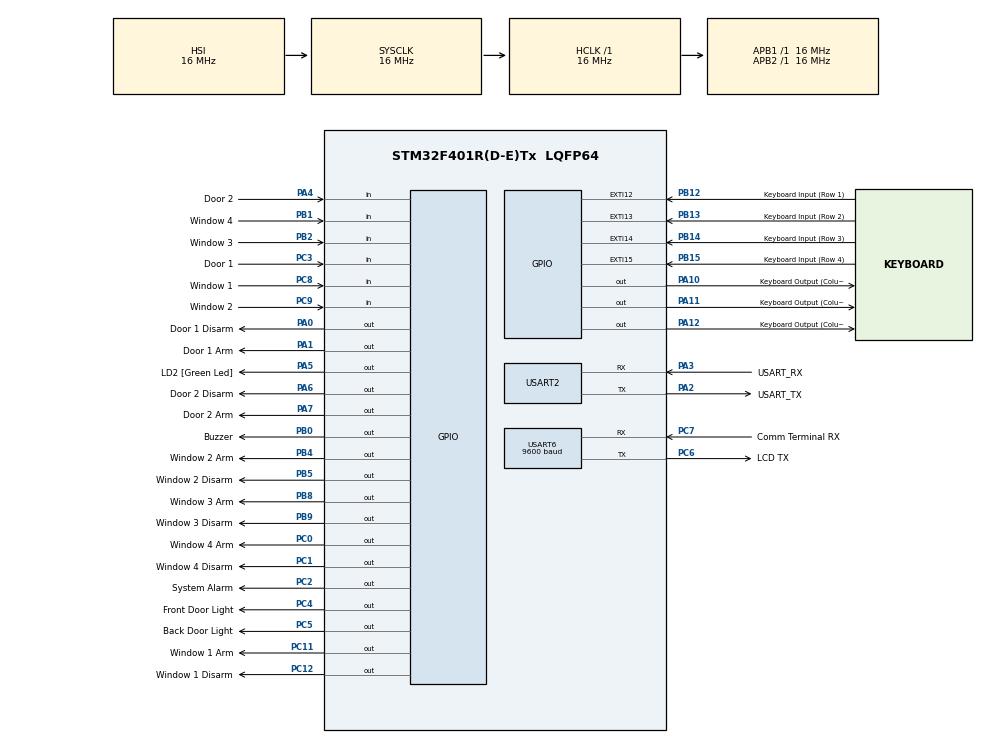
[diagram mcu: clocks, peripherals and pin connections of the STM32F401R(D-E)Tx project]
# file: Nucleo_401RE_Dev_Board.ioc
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Mcu.Family=STM32F4
Mcu.Name=STM32F401R(D-E)Tx
Mcu.Package=LQFP64
NVIC.EXTI15_10_IRQn=true\:0\:0\:false\:false\:true\:true\:true
NVIC.PriorityGroup=NVIC_PRIORITYGROUP_0
NVIC.TIM1_UP_TIM10_IRQn=true\:0\:0\:false\:false\:true\:true\:true
NVIC.USART6_IRQn=true\:0\:0\:false\:false\:true\:true\:true
PA0-WKUP.GPIO_Label=Door 1 Disarm
PA0-WKUP.GPIO_ModeDefaultOutputPP=GPIO_MODE_OUTPUT_PP
PA0-WKUP.GPIO_PuPd=GPIO_NOPULL
PA0-WKUP.PinState=GPIO_PIN_SET
PA0-WKUP.Signal=GPIO_Output
PA1.GPIO_Label=Door 1 Arm
PA1.GPIO_ModeDefaultOutputPP=GPIO_MODE_OUTPUT_PP
PA1.GPIO_PuPd=GPIO_NOPULL
PA1.Signal=GPIO_Output
PA10.GPIO_Label=Keyboard Output (Column 1)
PA10.PinState=GPIO_PIN_SET
PA10.Signal=GPIO_Output
PA11.GPIO_Label=Keyboard Output (Column 2)
PA11.PinState=GPIO_PIN_SET
PA11.Signal=GPIO_Output
PA12.GPIO_Label=Keyboard Output (Column 3)
PA12.PinState=GPIO_PIN_SET
PA12.Signal=GPIO_Output
PA13.GPIO_Label=TMS
PA13.Mode=Serial_Wire
PA13.Signal=SYS_JTMS-SWDIO
PA14.GPIO_Label=TCK
PA14.Mode=Serial_Wire
PA14.Signal=SYS_JTCK-SWCLK
PA2.GPIO_Label=USART_TX
PA2.GPIO_Mode=GPIO_MODE_AF_PP
PA2.GPIO_PuPd=GPIO_NOPULL
PA2.GPIO_Speed=GPIO_SPEED_FREQ_LOW
PA2.Mode=Asynchronous
PA2.Signal=USART2_TX
PA3.GPIO_Label=USART_RX
PA3.GPIO_Mode=GPIO_MODE_AF_PP
PA3.GPIO_PuPd=GPIO_NOPULL
PA3.GPIO_Speed=GPIO_SPEED_FREQ_LOW
PA3.Mode=Asynchronous
PA3.Signal=USART2_RX
PA4.GPIO_Label=Door 2
PA4.GPIO_PuPd=GPIO_PULLDOWN
PA4.Signal=GPIO_Input
PA5.GPIO_Label=LD2 [Green Led]
PA5.GPIO_Mode=GPIO_MODE_OUTPUT_PP
PA5.GPIO_PuPd=GPIO_NOPULL
PA5.GPIO_Speed=GPIO_SPEED_FREQ_LOW
PA5.Signal=GPIO_Output
PA6.GPIO_Label=Door 2 Disarm
PA6.GPIO_ModeDefaultOutputPP=GPIO_MODE_OUTPUT_PP
PA6.GPIO_PuPd=GPIO_NOPULL
PA6.PinState=GPIO_PIN_SET
PA6.Signal=GPIO_Output
PA7.GPIO_Label=Door 2 Arm
PA7.GPIO_ModeDefaultOutputPP=GPIO_MODE_OUTPUT_PP
PA7.GPIO_PuPd=GPIO_NOPULL
PA7.Signal=GPIO_Output
PA8.Signal=S_TIM1_CH1
PB0.GPIO_Label=Buzzer
PB0.Signal=GPIO_Output
PB1.GPIO_Label=Window 4
PB1.GPIO_PuPd=GPIO_PULLDOWN
PB1.Signal=GPIO_Input
PB12.GPIO_Label=Keyboard Input (Row 1)
PB12.Signal=GPXTI12
PB13.GPIO_Label=Keyboard Input (Row 2)
PB13.Signal=GPXTI13
PB14.GPIO_Label=Keyboard Input (Row 3)
PB14.Signal=GPXTI14
PB15.GPIO_Label=Keyboard Input (Row 4)
PB15.Signal=GPXTI15
PB2.GPIO_Label=Window 3
PB2.GPIO_PuPd=GPIO_PULLDOWN
PB2.Signal=GPIO_Input
PB3.GPIO_Label=SWO
PB3.Signal=SYS_JTDO-SWO
PB4.GPIO_Label=Window 2 Arm
PB4.GPIO_ModeDefaultOutputPP=GPIO_MODE_OUTPUT_PP
PB4.GPIO_PuPd=GPIO_NOPULL
PB4.PinState=GPIO_PIN_RESET
PB4.Signal=GPIO_Output
PB5.GPIO_Label=Window 2 Disarm
PB5.GPIO_ModeDefaultOutputPP=GPIO_MODE_OUTPUT_PP
PB5.GPIO_PuPd=GPIO_NOPULL
PB5.PinState=GPIO_PIN_SET
PB5.Signal=GPIO_Output
PB8.GPIO_Label=Window 3 Arm
PB8.GPIO_ModeDefaultOutputPP=GPIO_MODE_OUTPUT_PP
PB8.GPIO_PuPd=GPIO_NOPULL
PB8.PinState=GPIO_PIN_RESET
PB8.Signal=GPIO_Output
PB9.GPIO_Label=Window 3 Disarm
PB9.GPIO_ModeDefaultOutputPP=GPIO_MODE_OUTPUT_PP
PB9.GPIO_PuPd=GPIO_NOPULL
PB9.PinState=GPIO_PIN_SET
PB9.Signal=GPIO_Output
PC0.GPIO_Label=Window 4 Arm
PC0.GPIO_ModeDefaultOutputPP=GPIO_MODE_OUTPUT_PP
PC0.GPIO_PuPd=GPIO_NOPULL
PC0.PinState=GPIO_PIN_RESET
PC0.Signal=GPIO_Output
PC1.GPIO_Label=Window 4 Disarm
PC1.GPIO_ModeDefaultOutputPP=GPIO_MODE_OUTPUT_PP
PC1.GPIO_PuPd=GPIO_NOPULL
PC1.PinState=GPIO_PIN_SET
PC1.Signal=GPIO_Output
PC11.GPIO_Label=Window 1 Arm
PC11.GPIO_ModeDefaultOutputPP=GPIO_MODE_OUTPUT_PP
PC11.GPIO_PuPd=GPIO_NOPULL
PC11.PinState=GPIO_PIN_RESET
PC11.Signal=GPIO_Output
PC12.GPIO_Label=Window 1 Disarm
PC12.GPIO_ModeDefaultOutputPP=GPIO_MODE_OUTPUT_PP
PC12.GPIO_PuPd=GPIO_NOPULL
PC12.PinState=GPIO_PIN_SET
PC12.Signal=GPIO_Output
PC14-OSC32_IN.Mode=LSE-External-Oscillator
PC14-OSC32_IN.Signal=RCC_OSC32_IN
PC15-OSC32_OUT.Mode=LSE-External-Oscillator
PC15-OSC32_OUT.Signal=RCC_OSC32_OUT
PC2.GPIO_Label=System Alarm
PC2.Signal=GPIO_Output
PC3.GPIO_Label=Door 1
PC3.GPIO_PuPd=GPIO_PULLDOWN
PC3.Signal=GPIO_Input
PC4.GPIO_Label=Front Door Light
PC4.Signal=GPIO_Output
PC5.GPIO_Label=Back Door Light
PC5.Signal=GPIO_Output
PC6.GPIO_Label=LCD TX
PC6.Mode=Asynchronous
PC6.Signal=USART6_TX
PC7.GPIO_Label=Comm Terminal RX
PC7.Mode=Asynchronous
PC7.Signal=USART6_RX
PC8.GPIO_Label=Window 1
PC8.GPIO_PuPd=GPIO_PULLDOWN
PC8.Signal=GPIO_Input
PC9.GPIO_Label=Window 2
PC9.GPIO_PuPd=GPIO_PULLDOWN
PC9.Signal=GPIO_Input
PH0\ -\ OSC_IN.Mode=HSE-External-Clock-Source
PH0\ -\ OSC_IN.Signal=RCC_OSC_IN
PH1\ -\ OSC_OUT.Mode=HSE-External-Clock-Source
PH1\ -\ OSC_OUT.Signal=RCC_OSC_OUT
ProjectManager.HeapSize=0x200
ProjectManager.StackSize=0x400
ProjectManager.TargetToolchain=STM32CubeIDE
RCC.48MHZClocksFreq_Value=48000000
RCC.AHBFreq_Value=16000000
RCC.APB1Freq_Value=16000000
RCC.APB1TimFreq_Value=16000000
RCC.APB2Freq_Value=16000000
RCC.APB2TimFreq_Value=16000000
RCC.CortexFreq_Value=16000000
RCC.HCLKFreq_Value=16000000
RCC.HSE_VALUE=8000000
RCC.HSI_VALUE=16000000
RCC.PLLN=336
RCC.PLLP=RCC_PLLP_DIV4
RCC.PLLQ=7
RCC.SYSCLKFreq_VALUE=16000000
RCC.VCOOutputFreq_Value=336000000
SH.S_TIM1_CH1.0=TIM1_CH1
TIM10.AutoReloadPreload=TIM_AUTORELOAD_PRELOAD_ENABLE
TIM10.Channel=TIM_CHANNEL_1
TIM10.Period=1000-1
TIM10.Prescaler=16000-1
USART2.VirtualMode=VM_ASYNC
USART6.BaudRate=9600
USART6.Mode=MODE_TX_RX
USART6.VirtualMode=VM_ASYNC
VP_TIM10_VS_ClockSourceINT.Mode=Enable_Timer
VP_TIM10_VS_no_output1.Mode=Output Compare1 No Output
board=NUCLEO-F401RE

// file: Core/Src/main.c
/* USER CODE BEGIN Header */
/**
  ******************************************************************************
  * @file           : main.c
  * @brief          : Main program body
  ******************************************************************************
  * @attention
  *
  * <h2><center>&copy; Copyright (c) 2021 STMicroelectronics.
  * All rights reserved.</center></h2>
  *
  * This software component is licensed by ST under BSD 3-Clause license,
  * the "License"; You may not use this file except in compliance with the
  * License. You may obtain a copy of the License at:
  *                        opensource.org/licenses/BSD-3-Clause
  *
  ******************************************************************************
  */
/* USER CODE END Header */
#include "main.h"

/* USER CODE BEGIN Includes */
#include <string.h>
#include <stdbool.h>
/* USER CODE END Includes */

/* USER CODE BEGIN PD */

	/* Bytes for comm terminal interrupt. */
	uint8_t CT_command[3];

	/* Bytes for keypresses. */
	uint8_t keypress[4];
	uint8_t keyCount = 0;

	/* Count for activation delay. */
	uint8_t delayCount = 0;

	/* LCD Commands. */
	uint8_t LCD_Instcode = 254;	/* Needs to be sent before each command. */
	uint8_t LCD_CLS = 1;		/* Clear screen. */
	uint8_t LCD_1strow = 128;	/* Sends cursor to start of 1st row. */
	uint8_t LCD_2ndrow = 192;	/* Sends cursor to start of 2nd row. */
	uint8_t LCD_3rdrow = 148;	/* Sends cursor to start of 3rd row. */
	uint8_t LCD_4throw = 212;	/* Sends cursor to start of 4th row. */

	/* LCD Line Buffers. */
	uint8_t LCD_Text1[20] = "00:00:00  Setup";		/* Stores line1 text. */
	uint8_t LCD_Text2[20] = "W1:D W2:D W3:D W4:D";	/* Stores line2 text. */
	uint8_t LCD_Text3[20] = "D1:D D2:D";			/* Stores line3 text. */
	uint8_t LCD_Text4[20];							/* Stores line4 text. */

	/* Runtime Parameters. */
	uint8_t password[4] = {'1', '1', '1', '1'};
	uint8_t activationDelay = 0;
	bool w1Armed = false;
	bool w2Armed = false;
	bool w3Armed = false;
	bool w4Armed = false;
	bool d1Armed = false;
	bool d2Armed = false;
	bool runMode = false;
	bool frontDSArmed = false;
	bool backDSArmed = false;
	uint8_t frontDSDistance = 4;
	uint8_t backDSDistance = 4;
	uint8_t timeofday[6] = {'0', '0', '0', '0', '0', '0'};

	/* Global States. */
	bool ARMED = false;
	bool ALARM = false;
	bool DISARMED = true;

/* USER CODE END PD */

TIM_HandleTypeDef htim10;

UART_HandleTypeDef huart2;
UART_HandleTypeDef huart6;

void SystemClock_Config(void);
static void MX_GPIO_Init(void);
static void MX_USART2_UART_Init(void);
static void MX_USART6_UART_Init(void);
static void MX_TIM10_Init(void);

int main(void)
{

  /* MCU Configuration--------------------------------------------------------*/

  /* Reset of all peripherals, Initializes the Flash interface and the Systick. */
  HAL_Init();

  /* Configure the system clock */
  SystemClock_Config();

  /* Initialize all configured peripherals */
  MX_GPIO_Init();
  MX_USART2_UART_Init();
  MX_USART6_UART_Init();
  MX_TIM10_Init();
  /* USER CODE BEGIN 2 */

  /* Trigger interrupt on huart6 if 3 bytes are received. Store in CT_byte. */
  /* On interrupt, go to HAL_UART_RxCpltCallback(). */
  HAL_UART_Receive_IT(&huart6, CT_command, 3);

  /* Initialize LCD. */
  HAL_Delay(100);
  HAL_UART_Transmit(&huart6,&LCD_Instcode,1,1000);
  HAL_UART_Transmit(&huart6,&LCD_1strow,1,1000);
  HAL_Delay(100);
  HAL_UART_Transmit(&huart6,LCD_Text1,sizeof(LCD_Text1),1000);
  HAL_UART_Transmit(&huart6,&LCD_Instcode,1,1000);
  HAL_UART_Transmit(&huart6,&LCD_2ndrow,1,1000);
  HAL_Delay(100);
  HAL_UART_Transmit(&huart6,LCD_Text2,sizeof(LCD_Text2),1000);
  HAL_UART_Transmit(&huart6,&LCD_Instcode,1,1000);
  HAL_UART_Transmit(&huart6,&LCD_3rdrow,1,1000);
  HAL_Delay(100);
  HAL_UART_Transmit(&huart6,LCD_Text3,sizeof(LCD_Text3),1000);

  /* Start TIM10 timer and enable Timer10 interrupt. */
  HAL_TIM_Base_Start_IT(&htim10);

  /* USER CODE END 2 */

  /* Infinite loop */
  /* USER CODE BEGIN WHILE */
  while (1)
  {
	  if (!HAL_GPIO_ReadPin(GPIOC, GPIO_PIN_8) && w1Armed) {
		  LCD_Text2[3] = '!';
		  HAL_UART_Transmit(&huart6,&LCD_Instcode,1,1000);
		  HAL_UART_Transmit(&huart6,&LCD_2ndrow,1,1000);
		  HAL_UART_Transmit(&huart6,LCD_Text2,sizeof(LCD_Text2),1000);
		  ARMED = false;
		  ALARM = true;
		  HAL_GPIO_WritePin(GPIOC, GPIO_PIN_11, GPIO_PIN_RESET);
		  while (ALARM) {
			  HAL_GPIO_WritePin(GPIOC, GPIO_PIN_10, GPIO_PIN_SET);
			  HAL_GPIO_TogglePin(GPIOC, GPIO_PIN_2);
			  if (!HAL_GPIO_ReadPin(GPIOC, GPIO_PIN_9) && w2Armed) {
				  HAL_GPIO_WritePin(GPIOB, GPIO_PIN_4, GPIO_PIN_RESET);
				  HAL_GPIO_WritePin(GPIOB, GPIO_PIN_6, GPIO_PIN_SET);
				  LCD_Text2[8] = '!';
			  }
			  if (!HAL_GPIO_ReadPin(GPIOB, GPIO_PIN_2) && w3Armed) {
				  HAL_GPIO_WritePin(GPIOB, GPIO_PIN_8, GPIO_PIN_RESET);
				  HAL_GPIO_WritePin(GPIOB, GPIO_PIN_7, GPIO_PIN_SET);
				  LCD_Text2[13] = '!';
			  }
			  if (!HAL_GPIO_ReadPin(GPIOB, GPIO_PIN_1) && w4Armed) {
				  HAL_GPIO_WritePin(GPIOC, GPIO_PIN_0, GPIO_PIN_RESET);
				  HAL_GPIO_WritePin(GPIOC, GPIO_PIN_2, GPIO_PIN_SET);
				  LCD_Text2[18] = '!';
			  }
			  if (!HAL_GPIO_ReadPin(GPIOC, GPIO_PIN_3) && d1Armed) {
				  HAL_GPIO_WritePin(GPIOA, GPIO_PIN_1, GPIO_PIN_RESET);
				  HAL_GPIO_WritePin(GPIOA, GPIO_PIN_9, GPIO_PIN_SET);
				  LCD_Text3[3] = '!';
			  }
			  if (!HAL_GPIO_ReadPin(GPIOA, GPIO_PIN_4) && d2Armed) {
				  HAL_GPIO_WritePin(GPIOA, GPIO_PIN_7, GPIO_PIN_RESET);
				  HAL_GPIO_WritePin(GPIOA, GPIO_PIN_8, GPIO_PIN_SET);
				  LCD_Text3[8] = '!';
			  }
			  HAL_UART_Transmit(&huart6,&LCD_Instcode,1,1000);
			  HAL_UART_Transmit(&huart6,&LCD_2ndrow,1,1000);
			  HAL_UART_Transmit(&huart6,LCD_Text2,sizeof(LCD_Text2),1000);
			  HAL_Delay(100);
			  HAL_UART_Transmit(&huart6,&LCD_Instcode,1,1000);
			  HAL_UART_Transmit(&huart6,&LCD_3rdrow,1,1000);
			  HAL_UART_Transmit(&huart6,LCD_Text3,sizeof(LCD_Text3),1000);
			  HAL_Delay(100);

			  if (delayCount >= activationDelay && ALARM) {
				  HAL_GPIO_WritePin(GPIOB, GPIO_PIN_0, GPIO_PIN_SET);
			  }
		  }
		  HAL_GPIO_WritePin(GPIOC, GPIO_PIN_10, GPIO_PIN_RESET);
		  HAL_GPIO_WritePin(GPIOB, GPIO_PIN_6, GPIO_PIN_RESET);
		  HAL_GPIO_WritePin(GPIOB, GPIO_PIN_7, GPIO_PIN_RESET);
		  HAL_GPIO_WritePin(GPIOC, GPIO_PIN_2, GPIO_PIN_RESET);
		  HAL_GPIO_WritePin(GPIOA, GPIO_PIN_9, GPIO_PIN_RESET);
		  HAL_GPIO_WritePin(GPIOA, GPIO_PIN_8, GPIO_PIN_RESET);
		  HAL_GPIO_WritePin(GPIOC, GPIO_PIN_2, GPIO_PIN_RESET);
	  }
	  else if (!HAL_GPIO_ReadPin(GPIOC, GPIO_PIN_9) && w2Armed) {
		  LCD_Text2[8] = '!';
		  HAL_UART_Transmit(&huart6,&LCD_Instcode,1,1000);
		  HAL_UART_Transmit(&huart6,&LCD_2ndrow,1,1000);
		  HAL_UART_Transmit(&huart6,LCD_Text2,sizeof(LCD_Text2),1000);
		  ARMED = false;
		  ALARM = true;
		  HAL_GPIO_WritePin(GPIOB, GPIO_PIN_4, GPIO_PIN_RESET);
		  while (ALARM) {
			  HAL_GPIO_TogglePin(GPIOC, GPIO_PIN_2);
			  HAL_GPIO_WritePin(GPIOB, GPIO_PIN_6, GPIO_PIN_SET);
			  if (!HAL_GPIO_ReadPin(GPIOC, GPIO_PIN_8) && w1Armed) {
				  HAL_GPIO_WritePin(GPIOC, GPIO_PIN_11, GPIO_PIN_RESET);
				  HAL_GPIO_WritePin(GPIOC, GPIO_PIN_10, GPIO_PIN_SET);
			  }
			  if (!HAL_GPIO_ReadPin(GPIOB, GPIO_PIN_2) && w3Armed) {
				  HAL_GPIO_WritePin(GPIOB, GPIO_PIN_8, GPIO_PIN_RESET);
				  HAL_GPIO_WritePin(GPIOB, GPIO_PIN_7, GPIO_PIN_SET);
			  }
			  if (!HAL_GPIO_ReadPin(GPIOB, GPIO_PIN_1) && w4Armed) {
				  HAL_GPIO_WritePin(GPIOC, GPIO_PIN_0, GPIO_PIN_RESET);
				  HAL_GPIO_WritePin(GPIOC, GPIO_PIN_2, GPIO_PIN_SET);
			  }
			  if (!HAL_GPIO_ReadPin(GPIOC, GPIO_PIN_3) && d1Armed) {
				  HAL_GPIO_WritePin(GPIOA, GPIO_PIN_1, GPIO_PIN_RESET);
				  HAL_GPIO_WritePin(GPIOA, GPIO_PIN_9, GPIO_PIN_SET);
			  }
			  if (!HAL_GPIO_ReadPin(GPIOA, GPIO_PIN_4) && d2Armed) {
				  HAL_GPIO_WritePin(GPIOA, GPIO_PIN_7, GPIO_PIN_RESET);
				  HAL_GPIO_WritePin(GPIOA, GPIO_PIN_8, GPIO_PIN_SET);
			  }
			  HAL_UART_Transmit(&huart6,&LCD_Instcode,1,1000);
			  HAL_UART_Transmit(&huart6,&LCD_2ndrow,1,1000);
			  HAL_UART_Transmit(&huart6,LCD_Text2,sizeof(LCD_Text2),1000);
			  HAL_Delay(100);
			  HAL_UART_Transmit(&huart6,&LCD_Instcode,1,1000);
			  HAL_UART_Transmit(&huart6,&LCD_3rdrow,1,1000);
			  HAL_UART_Transmit(&huart6,LCD_Text3,sizeof(LCD_Text3),1000);
			  HAL_Delay(100);

			  if (delayCount >= activationDelay && ALARM) {
				  HAL_GPIO_WritePin(GPIOB, GPIO_PIN_0, GPIO_PIN_SET);
			  }
		  }
		  HAL_GPIO_WritePin(GPIOC, GPIO_PIN_10, GPIO_PIN_RESET);
		  HAL_GPIO_WritePin(GPIOB, GPIO_PIN_6, GPIO_PIN_RESET);
		  HAL_GPIO_WritePin(GPIOB, GPIO_PIN_7, GPIO_PIN_RESET);
		  HAL_GPIO_WritePin(GPIOC, GPIO_PIN_2, GPIO_PIN_RESET);
		  HAL_GPIO_WritePin(GPIOA, GPIO_PIN_9, GPIO_PIN_RESET);
		  HAL_GPIO_WritePin(GPIOA, GPIO_PIN_8, GPIO_PIN_RESET);
		  HAL_GPIO_WritePin(GPIOC, GPIO_PIN_2, GPIO_PIN_RESET);
	  }
	  else if (!HAL_GPIO_ReadPin(GPIOB, GPIO_PIN_2) && w3Armed) {
		  LCD_Text2[13] = '!';
		  HAL_UART_Transmit(&huart6,&LCD_Instcode,1,1000);
		  HAL_UART_Transmit(&huart6,&LCD_2ndrow,1,1000);
		  HAL_UART_Transmit(&huart6,LCD_Text2,sizeof(LCD_Text2),1000);
		  ARMED = false;
		  ALARM = true;
		  HAL_GPIO_WritePin(GPIOB, GPIO_PIN_8, GPIO_PIN_RESET);
		  while (ALARM) {
			  HAL_GPIO_TogglePin(GPIOC, GPIO_PIN_2);
			  HAL_GPIO_WritePin(GPIOB, GPIO_PIN_7, GPIO_PIN_SET);
			  if (!HAL_GPIO_ReadPin(GPIOC, GPIO_PIN_9) && w2Armed) {
				  HAL_GPIO_WritePin(GPIOB, GPIO_PIN_4, GPIO_PIN_RESET);
				  HAL_GPIO_WritePin(GPIOB, GPIO_PIN_6, GPIO_PIN_SET);
				  LCD_Text2[8] = '!';
			  }
			  if (!HAL_GPIO_ReadPin(GPIOC, GPIO_PIN_8) && w1Armed) {
				  HAL_GPIO_WritePin(GPIOC, GPIO_PIN_11, GPIO_PIN_RESET);
				  HAL_GPIO_WritePin(GPIOC, GPIO_PIN_10, GPIO_PIN_SET);
				  LCD_Text2[3] = '!';
			  }
			  if (!HAL_GPIO_ReadPin(GPIOB, GPIO_PIN_1) && w4Armed) {
				  HAL_GPIO_WritePin(GPIOC, GPIO_PIN_0, GPIO_PIN_RESET);
				  HAL_GPIO_WritePin(GPIOC, GPIO_PIN_2, GPIO_PIN_SET);
				  LCD_Text2[18] = '!';
			  }
			  if (!HAL_GPIO_ReadPin(GPIOC, GPIO_PIN_3) && d1Armed) {
				  HAL_GPIO_WritePin(GPIOA, GPIO_PIN_1, GPIO_PIN_RESET);
				  HAL_GPIO_WritePin(GPIOA, GPIO_PIN_9, GPIO_PIN_SET);
				  LCD_Text3[3] = '!';
			  }
			  if (!HAL_GPIO_ReadPin(GPIOA, GPIO_PIN_4) && d2Armed) {
				  HAL_GPIO_WritePin(GPIOA, GPIO_PIN_7, GPIO_PIN_RESET);
				  HAL_GPIO_WritePin(GPIOA, GPIO_PIN_8, GPIO_PIN_SET);
				  LCD_Text3[8] = '!';
			  }
			  HAL_UART_Transmit(&huart6,&LCD_Instcode,1,1000);
			  HAL_UART_Transmit(&huart6,&LCD_2ndrow,1,1000);
			  HAL_UART_Transmit(&huart6,LCD_Text2,sizeof(LCD_Text2),1000);
			  HAL_Delay(100);
			  HAL_UART_Transmit(&huart6,&LCD_Instcode,1,1000);
			  HAL_UART_Transmit(&huart6,&LCD_3rdrow,1,1000);
			  HAL_UART_Transmit(&huart6,LCD_Text3,sizeof(LCD_Text3),1000);
			  HAL_Delay(100);

			  if (delayCount >= activationDelay && ALARM) {
				  HAL_GPIO_WritePin(GPIOB, GPIO_PIN_0, GPIO_PIN_SET);
			  }
		  }
		  HAL_GPIO_WritePin(GPIOC, GPIO_PIN_10, GPIO_PIN_RESET);
		  HAL_GPIO_WritePin(GPIOB, GPIO_PIN_6, GPIO_PIN_RESET);
		  HAL_GPIO_WritePin(GPIOB, GPIO_PIN_7, GPIO_PIN_RESET);
		  HAL_GPIO_WritePin(GPIOC, GPIO_PIN_2, GPIO_PIN_RESET);
		  HAL_GPIO_WritePin(GPIOA, GPIO_PIN_9, GPIO_PIN_RESET);
		  HAL_GPIO_WritePin(GPIOA, GPIO_PIN_8, GPIO_PIN_RESET);
		  HAL_GPIO_WritePin(GPIOC, GPIO_PIN_2, GPIO_PIN_RESET);
	  }
	  else if (!HAL_GPIO_ReadPin(GPIOB, GPIO_PIN_1) && w4Armed) {
		  LCD_Text2[18] = '!';
		  HAL_UART_Transmit(&huart6,&LCD_Instcode,1,1000);
		  HAL_UART_Transmit(&huart6,&LCD_2ndrow,1,1000);
		  HAL_UART_Transmit(&huart6,LCD_Text2,sizeof(LCD_Text2),1000);
		  ARMED = false;
		  ALARM = true;
		  HAL_GPIO_WritePin(GPIOC, GPIO_PIN_0, GPIO_PIN_RESET);
		  while (ALARM) {
			  HAL_GPIO_TogglePin(GPIOC, GPIO_PIN_2);
			  HAL_GPIO_WritePin(GPIOC, GPIO_PIN_2, GPIO_PIN_SET);
			  if (!HAL_GPIO_ReadPin(GPIOC, GPIO_PIN_9) && w2Armed) {
				  HAL_GPIO_WritePin(GPIOB, GPIO_PIN_4, GPIO_PIN_RESET);
				  HAL_GPIO_WritePin(GPIOB, GPIO_PIN_6, GPIO_PIN_SET);
				  LCD_Text2[8] = '!';
			  }
			  if (!HAL_GPIO_ReadPin(GPIOB, GPIO_PIN_2) && w3Armed) {
				  HAL_GPIO_WritePin(GPIOB, GPIO_PIN_8, GPIO_PIN_RESET);
				  HAL_GPIO_WritePin(GPIOB, GPIO_PIN_7, GPIO_PIN_SET);
				  LCD_Text2[13] = '!';
			  }
			  if (!HAL_GPIO_ReadPin(GPIOC, GPIO_PIN_8) && w1Armed) {
				  HAL_GPIO_WritePin(GPIOC, GPIO_PIN_11, GPIO_PIN_RESET);
				  HAL_GPIO_WritePin(GPIOC, GPIO_PIN_10, GPIO_PIN_SET);
				  LCD_Text2[3] = '!';
			  }
			  if (!HAL_GPIO_ReadPin(GPIOC, GPIO_PIN_3) && d1Armed) {
				  HAL_GPIO_WritePin(GPIOA, GPIO_PIN_1, GPIO_PIN_RESET);
				  HAL_GPIO_WritePin(GPIOA, GPIO_PIN_9, GPIO_PIN_SET);
				  LCD_Text3[3] = '!';
			  }
			  if (!HAL_GPIO_ReadPin(GPIOA, GPIO_PIN_4) && d2Armed) {
				  HAL_GPIO_WritePin(GPIOA, GPIO_PIN_7, GPIO_PIN_RESET);
				  HAL_GPIO_WritePin(GPIOA, GPIO_PIN_8, GPIO_PIN_SET);
				  LCD_Text3[8] = '!';
			  }
			  HAL_UART_Transmit(&huart6,&LCD_Instcode,1,1000);
			  HAL_UART_Transmit(&huart6,&LCD_2ndrow,1,1000);
			  HAL_UART_Transmit(&huart6,LCD_Text2,sizeof(LCD_Text2),1000);
			  HAL_Delay(100);
			  HAL_UART_Transmit(&huart6,&LCD_Instcode,1,1000);
			  HAL_UART_Transmit(&huart6,&LCD_3rdrow,1,1000);
			  HAL_UART_Transmit(&huart6,LCD_Text3,sizeof(LCD_Text3),1000);
			  HAL_Delay(100);

			  if (delayCount >= activationDelay && ALARM) {
				  HAL_GPIO_WritePin(GPIOB, GPIO_PIN_0, GPIO_PIN_SET);
			  }
		  }
		  HAL_GPIO_WritePin(GPIOC, GPIO_PIN_10, GPIO_PIN_RESET);
		  HAL_GPIO_WritePin(GPIOB, GPIO_PIN_6, GPIO_PIN_RESET);
		  HAL_GPIO_WritePin(GPIOB, GPIO_PIN_7, GPIO_PIN_RESET);
		  HAL_GPIO_WritePin(GPIOC, GPIO_PIN_2, GPIO_PIN_RESET);
		  HAL_GPIO_WritePin(GPIOA, GPIO_PIN_9, GPIO_PIN_RESET);
		  HAL_GPIO_WritePin(GPIOA, GPIO_PIN_8, GPIO_PIN_RESET);
		  HAL_GPIO_WritePin(GPIOC, GPIO_PIN_2, GPIO_PIN_RESET);
	  }
	  else if (!HAL_GPIO_ReadPin(GPIOC, GPIO_PIN_3) && d1Armed) {
		  LCD_Text3[3] = '!';
		  HAL_UART_Transmit(&huart6,&LCD_Instcode,1,1000);
		  HAL_UART_Transmit(&huart6,&LCD_3rdrow,1,1000);
		  HAL_UART_Transmit(&huart6,LCD_Text3,sizeof(LCD_Text3),1000);
		  ARMED = false;
		  ALARM = true;
		  HAL_GPIO_WritePin(GPIOA, GPIO_PIN_1, GPIO_PIN_RESET);
		  while (ALARM) {
			  HAL_GPIO_TogglePin(GPIOC, GPIO_PIN_2);
			  HAL_GPIO_WritePin(GPIOA, GPIO_PIN_9, GPIO_PIN_SET);
			  if (!HAL_GPIO_ReadPin(GPIOC, GPIO_PIN_9) && w2Armed) {
				  HAL_GPIO_WritePin(GPIOB, GPIO_PIN_4, GPIO_PIN_RESET);
				  HAL_GPIO_WritePin(GPIOB, GPIO_PIN_6, GPIO_PIN_SET);
				  LCD_Text2[8] = '!';
			  }
			  if (!HAL_GPIO_ReadPin(GPIOB, GPIO_PIN_2) && w3Armed) {
				  HAL_GPIO_WritePin(GPIOB, GPIO_PIN_8, GPIO_PIN_RESET);
				  HAL_GPIO_WritePin(GPIOB, GPIO_PIN_7, GPIO_PIN_SET);
				  LCD_Text2[13] = '!';
			  }
			  if (!HAL_GPIO_ReadPin(GPIOB, GPIO_PIN_1) && w4Armed) {
				  HAL_GPIO_WritePin(GPIOC, GPIO_PIN_0, GPIO_PIN_RESET);
				  HAL_GPIO_WritePin(GPIOC, GPIO_PIN_2, GPIO_PIN_SET);
				  LCD_Text2[18] = '!';
			  }
			  if (!HAL_GPIO_ReadPin(GPIOC, GPIO_PIN_8) && w1Armed) {
				  HAL_GPIO_WritePin(GPIOC, GPIO_PIN_11, GPIO_PIN_RESET);
				  HAL_GPIO_WritePin(GPIOC, GPIO_PIN_10, GPIO_PIN_SET);
				  LCD_Text2[3] = '!';
			  }
			  if (!HAL_GPIO_ReadPin(GPIOA, GPIO_PIN_4) && d2Armed) {
				  HAL_GPIO_WritePin(GPIOA, GPIO_PIN_7, GPIO_PIN_RESET);
				  HAL_GPIO_WritePin(GPIOA, GPIO_PIN_8, GPIO_PIN_SET);
				  LCD_Text3[8] = '!';
			  }
			  HAL_UART_Transmit(&huart6,&LCD_Instcode,1,1000);
			  HAL_UART_Transmit(&huart6,&LCD_2ndrow,1,1000);
			  HAL_UART_Transmit(&huart6,LCD_Text2,sizeof(LCD_Text2),1000);
			  HAL_Delay(100);
			  HAL_UART_Transmit(&huart6,&LCD_Instcode,1,1000);
			  HAL_UART_Transmit(&huart6,&LCD_3rdrow,1,1000);
			  HAL_UART_Transmit(&huart6,LCD_Text3,sizeof(LCD_Text3),1000);
			  HAL_Delay(100);

			  if (delayCount >= activationDelay && ALARM) {
				  HAL_GPIO_WritePin(GPIOB, GPIO_PIN_0, GPIO_PIN_SET);
			  }
		  }
		  HAL_GPIO_WritePin(GPIOC, GPIO_PIN_10, GPIO_PIN_RESET);
		  HAL_GPIO_WritePin(GPIOB, GPIO_PIN_6, GPIO_PIN_RESET);
		  HAL_GPIO_WritePin(GPIOB, GPIO_PIN_7, GPIO_PIN_RESET);
		  HAL_GPIO_WritePin(GPIOC, GPIO_PIN_2, GPIO_PIN_RESET);
		  HAL_GPIO_WritePin(GPIOA, GPIO_PIN_9, GPIO_PIN_RESET);
		  HAL_GPIO_WritePin(GPIOA, GPIO_PIN_8, GPIO_PIN_RESET);
		  HAL_GPIO_WritePin(GPIOC, GPIO_PIN_2, GPIO_PIN_RESET);
	  }
	  else if (!HAL_GPIO_ReadPin(GPIOA, GPIO_PIN_4) && d2Armed) {
		  LCD_Text3[8] = '!';
		  HAL_UART_Transmit(&huart6,&LCD_Instcode,1,1000);
		  HAL_UART_Transmit(&huart6,&LCD_3rdrow,1,1000);
		  HAL_UART_Transmit(&huart6,LCD_Text3,sizeof(LCD_Text3),1000);
		  ARMED = false;
		  ALARM = true;
		  HAL_GPIO_WritePin(GPIOA, GPIO_PIN_7, GPIO_PIN_RESET);
		  while (ALARM) {
			  HAL_GPIO_TogglePin(GPIOC, GPIO_PIN_2);
			  HAL_GPIO_WritePin(GPIOA, GPIO_PIN_8, GPIO_PIN_SET);
			  if (!HAL_GPIO_ReadPin(GPIOC, GPIO_PIN_9) && w2Armed) {
				  HAL_GPIO_WritePin(GPIOB, GPIO_PIN_4, GPIO_PIN_RESET);
				  HAL_GPIO_WritePin(GPIOB, GPIO_PIN_6, GPIO_PIN_SET);
				  LCD_Text2[8] = '!';
			  }
			  if (!HAL_GPIO_ReadPin(GPIOB, GPIO_PIN_2) && w3Armed) {
				  HAL_GPIO_WritePin(GPIOB, GPIO_PIN_8, GPIO_PIN_RESET);
				  HAL_GPIO_WritePin(GPIOB, GPIO_PIN_7, GPIO_PIN_SET);
				  LCD_Text2[13] = '!';
			  }
			  if (!HAL_GPIO_ReadPin(GPIOB, GPIO_PIN_1) && w4Armed) {
				  HAL_GPIO_WritePin(GPIOC, GPIO_PIN_0, GPIO_PIN_RESET);
				  HAL_GPIO_WritePin(GPIOC, GPIO_PIN_2, GPIO_PIN_SET);
				  LCD_Text2[18] = '!';
			  }
			  if (!HAL_GPIO_ReadPin(GPIOC, GPIO_PIN_3) && d1Armed) {
				  HAL_GPIO_WritePin(GPIOA, GPIO_PIN_1, GPIO_PIN_RESET);
				  HAL_GPIO_WritePin(GPIOA, GPIO_PIN_9, GPIO_PIN_SET);
				  LCD_Text3[3] = '!';
			  }
			  if (!HAL_GPIO_ReadPin(GPIOC, GPIO_PIN_8) && w1Armed) {
				  HAL_GPIO_WritePin(GPIOC, GPIO_PIN_11, GPIO_PIN_RESET);
				  HAL_GPIO_WritePin(GPIOC, GPIO_PIN_10, GPIO_PIN_SET);
				  LCD_Text2[3] = '!';
			  }
			  HAL_UART_Transmit(&huart6,&LCD_Instcode,1,1000);
			  HAL_UART_Transmit(&huart6,&LCD_2ndrow,1,1000);
			  HAL_UART_Transmit(&huart6,LCD_Text2,sizeof(LCD_Text2),1000);
			  HAL_Delay(100);
			  HAL_UART_Transmit(&huart6,&LCD_Instcode,1,1000);
			  HAL_UART_Transmit(&huart6,&LCD_3rdrow,1,1000);
			  HAL_UART_Transmit(&huart6,LCD_Text3,sizeof(LCD_Text3),1000);
			  HAL_Delay(100);

			  if (delayCount >= activationDelay && ALARM) {
				  HAL_GPIO_WritePin(GPIOB, GPIO_PIN_0, GPIO_PIN_SET);
			  }
		  }
		  HAL_GPIO_WritePin(GPIOC, GPIO_PIN_10, GPIO_PIN_RESET);
		  HAL_GPIO_WritePin(GPIOB, GPIO_PIN_6, GPIO_PIN_RESET);
		  HAL_GPIO_WritePin(GPIOB, GPIO_PIN_7, GPIO_PIN_RESET);
		  HAL_GPIO_WritePin(GPIOC, GPIO_PIN_2, GPIO_PIN_RESET);
		  HAL_GPIO_WritePin(GPIOA, GPIO_PIN_9, GPIO_PIN_RESET);
		  HAL_GPIO_WritePin(GPIOA, GPIO_PIN_8, GPIO_PIN_RESET);
		  HAL_GPIO_WritePin(GPIOC, GPIO_PIN_2, GPIO_PIN_RESET);
	  }

    /* USER CODE END WHILE */

  }
}

void SystemClock_Config(void)
{
  RCC_OscInitTypeDef RCC_OscInitStruct = {0};
  RCC_ClkInitTypeDef RCC_ClkInitStruct = {0};

  /** Configure the main internal regulator output voltage
  */
  __HAL_RCC_PWR_CLK_ENABLE();
  __HAL_PWR_VOLTAGESCALING_CONFIG(PWR_REGULATOR_VOLTAGE_SCALE2);
  /** Initializes the RCC Oscillators according to the specified parameters
  * in the RCC_OscInitTypeDef structure.
  */
  RCC_OscInitStruct.OscillatorType = RCC_OSCILLATORTYPE_HSI;
  RCC_OscInitStruct.HSIState = RCC_HSI_ON;
  RCC_OscInitStruct.HSICalibrationValue = RCC_HSICALIBRATION_DEFAULT;
  RCC_OscInitStruct.PLL.PLLState = RCC_PLL_NONE;
  if (HAL_RCC_OscConfig(&RCC_OscInitStruct) != HAL_OK)
  {
    Error_Handler();
  }
  /** Initializes the CPU, AHB and APB buses clocks
  */
  RCC_ClkInitStruct.ClockType = RCC_CLOCKTYPE_HCLK|RCC_CLOCKTYPE_SYSCLK
                              |RCC_CLOCKTYPE_PCLK1|RCC_CLOCKTYPE_PCLK2;
  RCC_ClkInitStruct.SYSCLKSource = RCC_SYSCLKSOURCE_HSI;
  RCC_ClkInitStruct.AHBCLKDivider = RCC_SYSCLK_DIV1;
  RCC_ClkInitStruct.APB1CLKDivider = RCC_HCLK_DIV1;
  RCC_ClkInitStruct.APB2CLKDivider = RCC_HCLK_DIV1;

  if (HAL_RCC_ClockConfig(&RCC_ClkInitStruct, FLASH_LATENCY_0) != HAL_OK)
  {
    Error_Handler();
  }
}

static void MX_TIM10_Init(void)
{

  TIM_OC_InitTypeDef sConfigOC = {0};

  htim10.Instance = TIM10;
  htim10.Init.Prescaler = 16000-1;
  htim10.Init.CounterMode = TIM_COUNTERMODE_UP;
  htim10.Init.Period = 1000-1;
  htim10.Init.ClockDivision = TIM_CLOCKDIVISION_DIV1;
  htim10.Init.AutoReloadPreload = TIM_AUTORELOAD_PRELOAD_ENABLE;
  if (HAL_TIM_Base_Init(&htim10) != HAL_OK)
  {
    Error_Handler();
  }
  if (HAL_TIM_OC_Init(&htim10) != HAL_OK)
  {
    Error_Handler();
  }
  sConfigOC.OCMode = TIM_OCMODE_TIMING;
  sConfigOC.Pulse = 0;
  sConfigOC.OCPolarity = TIM_OCPOLARITY_HIGH;
  sConfigOC.OCFastMode = TIM_OCFAST_DISABLE;
  if (HAL_TIM_OC_ConfigChannel(&htim10, &sConfigOC, TIM_CHANNEL_1) != HAL_OK)
  {
    Error_Handler();
  }

}

static void MX_USART2_UART_Init(void)
{

  huart2.Instance = USART2;
  huart2.Init.BaudRate = 115200;
  huart2.Init.WordLength = UART_WORDLENGTH_8B;
  huart2.Init.StopBits = UART_STOPBITS_1;
  huart2.Init.Parity = UART_PARITY_NONE;
  huart2.Init.Mode = UART_MODE_TX_RX;
  huart2.Init.HwFlowCtl = UART_HWCONTROL_NONE;
  huart2.Init.OverSampling = UART_OVERSAMPLING_16;
  if (HAL_UART_Init(&huart2) != HAL_OK)
  {
    Error_Handler();
  }

}

static void MX_USART6_UART_Init(void)
{

  huart6.Instance = USART6;
  huart6.Init.BaudRate = 9600;
  huart6.Init.WordLength = UART_WORDLENGTH_8B;
  huart6.Init.StopBits = UART_STOPBITS_1;
  huart6.Init.Parity = UART_PARITY_NONE;
  huart6.Init.Mode = UART_MODE_TX_RX;
  huart6.Init.HwFlowCtl = UART_HWCONTROL_NONE;
  huart6.Init.OverSampling = UART_OVERSAMPLING_16;
  if (HAL_UART_Init(&huart6) != HAL_OK)
  {
    Error_Handler();
  }

}

static void MX_GPIO_Init(void)
{
  GPIO_InitTypeDef GPIO_InitStruct = {0};

  /* GPIO Ports Clock Enable */
  __HAL_RCC_GPIOC_CLK_ENABLE();
  __HAL_RCC_GPIOH_CLK_ENABLE();
  __HAL_RCC_GPIOA_CLK_ENABLE();
  __HAL_RCC_GPIOB_CLK_ENABLE();

  /*Configure GPIO pin Output Level */
  HAL_GPIO_WritePin(GPIOC, Window_4_Arm_Pin|System_Alarm_Pin|Front_Door_Light_Pin|Back_Door_Light_Pin
                          |Window_1_Arm_Pin, GPIO_PIN_RESET);

  /*Configure GPIO pin Output Level */
  HAL_GPIO_WritePin(GPIOC, Window_4_Disarm_Pin|Window_1_Disarm_Pin, GPIO_PIN_SET);

  /*Configure GPIO pin Output Level */
  HAL_GPIO_WritePin(GPIOA, Door_1_Disarm_Pin|Door_2_Disarm_Pin|Keyboard_Output_Pin|Keyboard_OutputA11_Pin
                          |Keyboard_OutputA12_Pin, GPIO_PIN_SET);

  /*Configure GPIO pin Output Level */
  HAL_GPIO_WritePin(GPIOA, Door_1_Arm_Pin|LD2_Pin|Door_2_Arm_Pin, GPIO_PIN_RESET);

  /*Configure GPIO pin Output Level */
  HAL_GPIO_WritePin(GPIOB, Buzzer_Pin|Window_2_Arm_Pin|Window_3_Arm_Pin, GPIO_PIN_RESET);

  /*Configure GPIO pin Output Level */
  HAL_GPIO_WritePin(GPIOB, Window_2_Disarm_Pin|Window_3_Disarm_Pin, GPIO_PIN_SET);

  /*Configure GPIO pins : Window_4_Arm_Pin Window_4_Disarm_Pin System_Alarm_Pin Front_Door_Light_Pin
                           Back_Door_Light_Pin Window_1_Arm_Pin Window_1_Disarm_Pin */
  GPIO_InitStruct.Pin = Window_4_Arm_Pin|Window_4_Disarm_Pin|System_Alarm_Pin|Front_Door_Light_Pin
                          |Back_Door_Light_Pin|Window_1_Arm_Pin|Window_1_Disarm_Pin;
  GPIO_InitStruct.Mode = GPIO_MODE_OUTPUT_PP;
  GPIO_InitStruct.Pull = GPIO_NOPULL;
  GPIO_InitStruct.Speed = GPIO_SPEED_FREQ_LOW;
  HAL_GPIO_Init(GPIOC, &GPIO_InitStruct);

  /*Configure GPIO pins : Door_1_Pin Window_1_Pin Window_2_Pin */
  GPIO_InitStruct.Pin = Door_1_Pin|Window_1_Pin|Window_2_Pin;
  GPIO_InitStruct.Mode = GPIO_MODE_INPUT;
  GPIO_InitStruct.Pull = GPIO_PULLDOWN;
  HAL_GPIO_Init(GPIOC, &GPIO_InitStruct);

  /*Configure GPIO pins : Door_1_Disarm_Pin Door_1_Arm_Pin LD2_Pin Door_2_Disarm_Pin
                           Door_2_Arm_Pin Keyboard_Output_Pin Keyboard_OutputA11_Pin Keyboard_OutputA12_Pin */
  GPIO_InitStruct.Pin = Door_1_Disarm_Pin|Door_1_Arm_Pin|LD2_Pin|Door_2_Disarm_Pin
                          |Door_2_Arm_Pin|Keyboard_Output_Pin|Keyboard_OutputA11_Pin|Keyboard_OutputA12_Pin;
  GPIO_InitStruct.Mode = GPIO_MODE_OUTPUT_PP;
  GPIO_InitStruct.Pull = GPIO_NOPULL;
  GPIO_InitStruct.Speed = GPIO_SPEED_FREQ_LOW;
  HAL_GPIO_Init(GPIOA, &GPIO_InitStruct);

  /*Configure GPIO pin : Door_2_Pin */
  GPIO_InitStruct.Pin = Door_2_Pin;
  GPIO_InitStruct.Mode = GPIO_MODE_INPUT;
  GPIO_InitStruct.Pull = GPIO_PULLDOWN;
  HAL_GPIO_Init(Door_2_GPIO_Port, &GPIO_InitStruct);

  /*Configure GPIO pins : Buzzer_Pin Window_2_Arm_Pin Window_2_Disarm_Pin Window_3_Arm_Pin
                           Window_3_Disarm_Pin */
  GPIO_InitStruct.Pin = Buzzer_Pin|Window_2_Arm_Pin|Window_2_Disarm_Pin|Window_3_Arm_Pin
                          |Window_3_Disarm_Pin;
  GPIO_InitStruct.Mode = GPIO_MODE_OUTPUT_PP;
  GPIO_InitStruct.Pull = GPIO_NOPULL;
  GPIO_InitStruct.Speed = GPIO_SPEED_FREQ_LOW;
  HAL_GPIO_Init(GPIOB, &GPIO_InitStruct);

  /*Configure GPIO pins : Window_4_Pin Window_3_Pin */
  GPIO_InitStruct.Pin = Window_4_Pin|Window_3_Pin;
  GPIO_InitStruct.Mode = GPIO_MODE_INPUT;
  GPIO_InitStruct.Pull = GPIO_PULLDOWN;
  HAL_GPIO_Init(GPIOB, &GPIO_InitStruct);

  /*Configure GPIO pins : Keyboard_Input_Pin Keyboard_InputB13_Pin Keyboard_InputB14_Pin Keyboard_InputB15_Pin */
  GPIO_InitStruct.Pin = Keyboard_Input_Pin|Keyboard_InputB13_Pin|Keyboard_InputB14_Pin|Keyboard_InputB15_Pin;
  GPIO_InitStruct.Mode = GPIO_MODE_IT_RISING;
  GPIO_InitStruct.Pull = GPIO_NOPULL;
  HAL_GPIO_Init(GPIOB, &GPIO_InitStruct);

  /*Configure GPIO pin : PA8 */
  GPIO_InitStruct.Pin = GPIO_PIN_8;
  GPIO_InitStruct.Mode = GPIO_MODE_AF_PP;
  GPIO_InitStruct.Pull = GPIO_NOPULL;
  GPIO_InitStruct.Speed = GPIO_SPEED_FREQ_LOW;
  GPIO_InitStruct.Alternate = GPIO_AF1_TIM1;
  HAL_GPIO_Init(GPIOA, &GPIO_InitStruct);

  /* EXTI interrupt init*/
  HAL_NVIC_SetPriority(EXTI15_10_IRQn, 0, 0);
  HAL_NVIC_EnableIRQ(EXTI15_10_IRQn);

}

/* USER CODE BEGIN 4 */

/* This callback is called by the HAL_UART_IRQHandler when the given number of bytes are received. (1) */
void HAL_UART_RxCpltCallback(UART_HandleTypeDef *huart) {

	if (huart->Instance == USART6 && !ALARM) {
		HAL_TIM_Base_Stop_IT(&htim10);

		/* Set password. */
		if (strcmp((char*)CT_command, "-p ") == 0) {
			HAL_UART_Receive_IT(&huart6, password, 4);
			CT_command[0] = 0;
			return;
		}

		/* Set activation delay. */
		else if (strcmp((char*)CT_command, "-a ") == 0) {
			HAL_UART_Receive_IT(&huart6, &activationDelay, 1);
			CT_command[0] = 0;
			return;
		}

		/* Set time of day. */
		else if (strcmp((char*)CT_command, "-t ") == 0) {
			HAL_UART_Receive_IT(&huart6, timeofday, 6);
			CT_command[0] = 0;
			return;
		}

		/* Set front and back distance sensors. */
		else if (strcmp((char*)CT_command, "-f ") == 0) {
			HAL_UART_Receive_IT(&huart6, &frontDSDistance, 1);
			CT_command[0] = 0;
			return;
		}
		else if (strcmp((char*)CT_command, "-b ") == 0) {
			HAL_UART_Receive_IT(&huart6, &backDSDistance, 1);
			CT_command[0] = 0;
			return;
		}

		/* Toggle runmode. */
		else if (strcmp((char*)CT_command, "-mt") == 0) {
			if (runMode) {
				runMode = false;
				LCD_Text1[10] = 'S';
				LCD_Text1[11] = 'e';
				LCD_Text1[12] = 't';
				LCD_Text1[13] = 'u';
				LCD_Text1[14] = 'p';
			}
			else {
				runMode = true;
				LCD_Text1[10] = 'R';
				LCD_Text1[11] = 'u';
				LCD_Text1[12] = 'n';
				LCD_Text1[13] = ' ';
				LCD_Text1[14] = ' ';
			}
		    HAL_UART_Transmit(&huart6,&LCD_Instcode,1,1000);
		    HAL_UART_Transmit(&huart6,&LCD_1strow,1,1000);
		    HAL_UART_Transmit(&huart6,LCD_Text1,sizeof(LCD_Text1),1000);
		}

		/* Toggle windows/door alarms. */
		else if (strcmp((char*)CT_command, "-w1") == 0) {
			if (w1Armed) {
				w1Armed = false;
				HAL_GPIO_WritePin(GPIOC, GPIO_PIN_11, GPIO_PIN_RESET);
				HAL_GPIO_WritePin(GPIOC, GPIO_PIN_12, GPIO_PIN_SET);
				LCD_Text2[3] = 'D';
			}
			else {
				w1Armed = true;
				HAL_GPIO_WritePin(GPIOC, GPIO_PIN_12, GPIO_PIN_RESET);
				HAL_GPIO_WritePin(GPIOC, GPIO_PIN_11, GPIO_PIN_SET);
				LCD_Text2[3] = 'A';
			}
		    HAL_UART_Transmit(&huart6,&LCD_Instcode,1,1000);
		    HAL_UART_Transmit(&huart6,&LCD_2ndrow,1,1000);
		    HAL_UART_Transmit(&huart6,LCD_Text2,sizeof(LCD_Text2),1000);
		}
		else if (strcmp((char*)CT_command, "-w2") == 0) {
			if (w2Armed) {
				w2Armed = false;
				LCD_Text2[8] = 'D';
				HAL_GPIO_WritePin(GPIOB, GPIO_PIN_4, GPIO_PIN_RESET);
				HAL_GPIO_WritePin(GPIOB, GPIO_PIN_5, GPIO_PIN_SET);
			}
			else {
				w2Armed = true;
				LCD_Text2[8] = 'A';
				HAL_GPIO_WritePin(GPIOB, GPIO_PIN_5, GPIO_PIN_RESET);
				HAL_GPIO_WritePin(GPIOB, GPIO_PIN_4, GPIO_PIN_SET);
			}
		    HAL_UART_Transmit(&huart6,&LCD_Instcode,1,1000);
		    HAL_UART_Transmit(&huart6,&LCD_2ndrow,1,1000);
		    HAL_UART_Transmit(&huart6,LCD_Text2,sizeof(LCD_Text2),1000);
		}
		else if (strcmp((char*)CT_command, "-w3") == 0) {
			if (w3Armed) {
				w3Armed = false;
				LCD_Text2[13] = 'D';
				HAL_GPIO_WritePin(GPIOB, GPIO_PIN_8, GPIO_PIN_RESET);
				HAL_GPIO_WritePin(GPIOB, GPIO_PIN_9, GPIO_PIN_SET);
			}
			else {
				w3Armed = true;
				LCD_Text2[13] = 'A';
				HAL_GPIO_WritePin(GPIOB, GPIO_PIN_9, GPIO_PIN_RESET);
				HAL_GPIO_WritePin(GPIOB, GPIO_PIN_8, GPIO_PIN_SET);
			}
		    HAL_UART_Transmit(&huart6,&LCD_Instcode,1,1000);
		    HAL_UART_Transmit(&huart6,&LCD_2ndrow,1,1000);
		    HAL_UART_Transmit(&huart6,LCD_Text2,sizeof(LCD_Text2),1000);
		}
		else if (strcmp((char*)CT_command, "-w4") == 0) {
			if (w4Armed) {
				w4Armed = false;
				LCD_Text2[18] = 'D';
				HAL_GPIO_WritePin(GPIOC, GPIO_PIN_0, GPIO_PIN_RESET);
				HAL_GPIO_WritePin(GPIOC, GPIO_PIN_1, GPIO_PIN_SET);
			}
			else {
				w4Armed = true;
				LCD_Text2[18] = 'A';
				HAL_GPIO_WritePin(GPIOB, GPIO_PIN_1, GPIO_PIN_RESET);
				HAL_GPIO_WritePin(GPIOB, GPIO_PIN_0, GPIO_PIN_SET);
			}
		    HAL_UART_Transmit(&huart6,&LCD_Instcode,1,1000);
		    HAL_UART_Transmit(&huart6,&LCD_2ndrow,1,1000);
		    HAL_UART_Transmit(&huart6,LCD_Text2,sizeof(LCD_Text2),1000);
		}
		else if (strcmp((char*)CT_command, "-d1") == 0) {
			if (d1Armed) {
				d1Armed = false;
				LCD_Text3[3] = 'D';
				HAL_GPIO_WritePin(GPIOA, GPIO_PIN_1, GPIO_PIN_RESET);
				HAL_GPIO_WritePin(GPIOA, GPIO_PIN_0, GPIO_PIN_SET);
			}
			else {
				d1Armed = true;
				LCD_Text3[3] = 'A';
				HAL_GPIO_WritePin(GPIOA, GPIO_PIN_0, GPIO_PIN_RESET);
				HAL_GPIO_WritePin(GPIOA, GPIO_PIN_1, GPIO_PIN_SET);
			}
		    HAL_UART_Transmit(&huart6,&LCD_Instcode,1,1000);
		    HAL_UART_Transmit(&huart6,&LCD_3rdrow,1,1000);
		    HAL_UART_Transmit(&huart6,LCD_Text3,sizeof(LCD_Text3),1000);
		}
		else if (strcmp((char*)CT_command, "-d2") == 0) {
			if (d2Armed) {
				d2Armed = false;
				LCD_Text3[8] = 'D';
				HAL_GPIO_WritePin(GPIOA, GPIO_PIN_7, GPIO_PIN_RESET);
				HAL_GPIO_WritePin(GPIOA, GPIO_PIN_6, GPIO_PIN_SET);
			}
			else {
				d2Armed = true;
				LCD_Text3[8] = 'A';
				HAL_GPIO_WritePin(GPIOA, GPIO_PIN_6, GPIO_PIN_RESET);
				HAL_GPIO_WritePin(GPIOA, GPIO_PIN_7, GPIO_PIN_SET);
			}
		    HAL_UART_Transmit(&huart6,&LCD_Instcode,1,1000);
		    HAL_UART_Transmit(&huart6,&LCD_3rdrow,1,1000);
		    HAL_UART_Transmit(&huart6,LCD_Text3,sizeof(LCD_Text3),1000);
		}

		/* Set up interrupt again. */
		HAL_UART_Receive_IT(&huart6, CT_command, 3);
		HAL_TIM_Base_Start_IT(&htim10);
	}
	HAL_UART_Receive_IT(&huart6, CT_command, 3);

}

/* Callback function for the keyboard. */
void HAL_GPIO_EXTI_Callback(uint16_t GPIO_Pin) {

	HAL_NVIC_DisableIRQ(EXTI15_10_IRQn);

    if(GPIO_Pin == GPIO_PIN_12) {
	  	  HAL_GPIO_WritePin(GPIOA, GPIO_PIN_11, GPIO_PIN_RESET);
	  	  HAL_GPIO_WritePin(GPIOA, GPIO_PIN_12, GPIO_PIN_RESET);
	  	  if (HAL_GPIO_ReadPin(GPIOB, GPIO_PIN_12)) {
	  		  keypress[keyCount] = '1';
	  		  ++keyCount;
	  	  }

	  	  HAL_GPIO_WritePin(GPIOA, GPIO_PIN_10, GPIO_PIN_RESET);
	  	  HAL_GPIO_WritePin(GPIOA, GPIO_PIN_11, GPIO_PIN_SET);
	  	  if (HAL_GPIO_ReadPin(GPIOB, GPIO_PIN_12)) {
	  		  keypress[keyCount] = '2';
	  		  ++keyCount;
	  	  }

	  	  HAL_GPIO_WritePin(GPIOA, GPIO_PIN_11, GPIO_PIN_RESET);
	  	  HAL_GPIO_WritePin(GPIOA, GPIO_PIN_12, GPIO_PIN_SET);
	  	  if (HAL_GPIO_ReadPin(GPIOB, GPIO_PIN_12)) {
	  		  keypress[keyCount] = '3';
	  		  ++keyCount;
	  	  }
    }
    else if(GPIO_Pin == GPIO_PIN_13) {
	  	  HAL_GPIO_WritePin(GPIOA, GPIO_PIN_11, GPIO_PIN_RESET);
	  	  HAL_GPIO_WritePin(GPIOA, GPIO_PIN_12, GPIO_PIN_RESET);
	  	  if (HAL_GPIO_ReadPin(GPIOB, GPIO_PIN_13)) {
	  		  keypress[keyCount] = '4';
	  		  ++keyCount;
	  	  }

	  	  HAL_GPIO_WritePin(GPIOA, GPIO_PIN_10, GPIO_PIN_RESET);
	  	  HAL_GPIO_WritePin(GPIOA, GPIO_PIN_11, GPIO_PIN_SET);
	  	  if (HAL_GPIO_ReadPin(GPIOB, GPIO_PIN_13)) {
	  		  keypress[keyCount] = '5';
	  		  ++keyCount;
	  	  }

	  	  HAL_GPIO_WritePin(GPIOA, GPIO_PIN_11, GPIO_PIN_RESET);
	  	  HAL_GPIO_WritePin(GPIOA, GPIO_PIN_12, GPIO_PIN_SET);
	  	  if (HAL_GPIO_ReadPin(GPIOB, GPIO_PIN_13)) {
	  		  keypress[keyCount] = '6';
	  		  ++keyCount;
	  	  }
    }
    else if(GPIO_Pin == GPIO_PIN_14) {
	  	  HAL_GPIO_WritePin(GPIOA, GPIO_PIN_11, GPIO_PIN_RESET);
	  	  HAL_GPIO_WritePin(GPIOA, GPIO_PIN_12, GPIO_PIN_RESET);
	  	  if (HAL_GPIO_ReadPin(GPIOB, GPIO_PIN_14)) {
	  		  keypress[keyCount] = '7';
	  		  ++keyCount;
	  	  }

	  	  HAL_GPIO_WritePin(GPIOA, GPIO_PIN_10, GPIO_PIN_RESET);
	  	  HAL_GPIO_WritePin(GPIOA, GPIO_PIN_11, GPIO_PIN_SET);
	  	  if (HAL_GPIO_ReadPin(GPIOB, GPIO_PIN_14)) {
	  		  keypress[keyCount] = '8';
	  		  ++keyCount;
	  	  }

	  	  HAL_GPIO_WritePin(GPIOA, GPIO_PIN_11, GPIO_PIN_RESET);
	  	  HAL_GPIO_WritePin(GPIOA, GPIO_PIN_12, GPIO_PIN_SET);
	  	  if (HAL_GPIO_ReadPin(GPIOB, GPIO_PIN_14)) {
	  		  keypress[keyCount] = '9';
	  		  ++keyCount;
	  	  }
    }
    else if(GPIO_Pin == GPIO_PIN_15) {
	  	  HAL_GPIO_WritePin(GPIOA, GPIO_PIN_11, GPIO_PIN_RESET);
	  	  HAL_GPIO_WritePin(GPIOA, GPIO_PIN_12, GPIO_PIN_RESET);
	  	  if (HAL_GPIO_ReadPin(GPIOB, GPIO_PIN_15)) {
	  		  keypress[keyCount] = '*';
	  		  ++keyCount;
	  	  }

	  	  HAL_GPIO_WritePin(GPIOA, GPIO_PIN_10, GPIO_PIN_RESET);
	  	  HAL_GPIO_WritePin(GPIOA, GPIO_PIN_11, GPIO_PIN_SET);
	  	  if (HAL_GPIO_ReadPin(GPIOB, GPIO_PIN_15)) {
	  		  keypress[keyCount] = '0';
	  		  ++keyCount;
	  	  }

	  	  HAL_GPIO_WritePin(GPIOA, GPIO_PIN_11, GPIO_PIN_RESET);
	  	  HAL_GPIO_WritePin(GPIOA, GPIO_PIN_12, GPIO_PIN_SET);
	  	  if (HAL_GPIO_ReadPin(GPIOB, GPIO_PIN_15)) {
	  		  keypress[keyCount] = '#';
	  		  ++keyCount;
	  	  }
    }
    /* Set back to initial state. */
    HAL_GPIO_WritePin(GPIOA, GPIO_PIN_10, GPIO_PIN_SET);
    HAL_GPIO_WritePin(GPIOA, GPIO_PIN_11, GPIO_PIN_SET);
    HAL_GPIO_WritePin(GPIOA, GPIO_PIN_12, GPIO_PIN_SET);

    if (keyCount == 4) {
    	  /* Check if password correct and arm/disarm. */
    	  if ((password[0] == keypress[0]) && (password[1] == keypress[1]) && (password[2] == keypress[2]) && (password[3] == keypress[3])) {
    	  	  if (ARMED || ALARM) {
    	  	  	  ARMED = false;
    	  	  	  ALARM = false;
    	  	  	  DISARMED = true;
    	  	  	  LCD_Text2[3] = 'D'; LCD_Text2[8] = 'D'; LCD_Text2[13] = 'D'; LCD_Text2[18] = 'D';
    	  	  	  LCD_Text3[3] = 'D'; LCD_Text3[8] = 'D';
    	  	  	  w1Armed = false;
    	  	  	  w2Armed = false;
    	  	  	  w3Armed = false;
    	  	  	  w4Armed = false;
    	  	  	  d1Armed = false;
    	  	  	  d2Armed = false;
    	  	  	  HAL_GPIO_WritePin(GPIOC, GPIO_PIN_12, GPIO_PIN_SET);
    	  	  	  HAL_GPIO_WritePin(GPIOB, GPIO_PIN_5, GPIO_PIN_SET);
    	  	  	  HAL_GPIO_WritePin(GPIOB, GPIO_PIN_9, GPIO_PIN_SET);
    	  	  	  HAL_GPIO_WritePin(GPIOC, GPIO_PIN_1, GPIO_PIN_SET);
    	  	  	  HAL_GPIO_WritePin(GPIOA, GPIO_PIN_0, GPIO_PIN_SET);
    	  	  	  HAL_GPIO_WritePin(GPIOA, GPIO_PIN_6, GPIO_PIN_SET);
    	  	  	  HAL_GPIO_WritePin(GPIOC, GPIO_PIN_11, GPIO_PIN_RESET);
    	  	  	  HAL_GPIO_WritePin(GPIOB, GPIO_PIN_4, GPIO_PIN_RESET);
    	  	  	  HAL_GPIO_WritePin(GPIOB, GPIO_PIN_8, GPIO_PIN_RESET);
    	  	  	  HAL_GPIO_WritePin(GPIOC, GPIO_PIN_0, GPIO_PIN_RESET);
    	  	  	  HAL_GPIO_WritePin(GPIOA, GPIO_PIN_1, GPIO_PIN_RESET);
    	  	  	  HAL_GPIO_WritePin(GPIOA, GPIO_PIN_7, GPIO_PIN_RESET);
    	  	  	  HAL_GPIO_WritePin(GPIOB, GPIO_PIN_0, GPIO_PIN_RESET);
    			  HAL_UART_Transmit(&huart6,&LCD_Instcode,1,1000);
    			  HAL_UART_Transmit(&huart6,&LCD_2ndrow,1,1000);
    			  HAL_UART_Transmit(&huart6,LCD_Text2,sizeof(LCD_Text2),1000);
    			  HAL_UART_Transmit(&huart6,&LCD_Instcode,1,1000);
    			  HAL_UART_Transmit(&huart6,&LCD_3rdrow,1,1000);
    			  HAL_UART_Transmit(&huart6,LCD_Text3,sizeof(LCD_Text3),1000);
    	  	  }
    	  	  else {
    	  	  	  ARMED = true;
    	  	  	  DISARMED = false;
    	  	  	  LCD_Text2[3] = 'A'; LCD_Text2[8] = 'A'; LCD_Text2[13] = 'A'; LCD_Text2[18] = 'A';
    	  	  	  LCD_Text3[3] = 'A'; LCD_Text3[8] = 'A';
    	  	  	  w1Armed = true;
    	  	  	  w2Armed = true;
    	  	  	  w3Armed = true;
    	  	  	  w4Armed = true;
    	  	  	  d1Armed = true;
    	  	  	  d2Armed = true;
    	  	  	  HAL_GPIO_WritePin(GPIOC, GPIO_PIN_11, GPIO_PIN_SET);
    	  	  	  HAL_GPIO_WritePin(GPIOB, GPIO_PIN_4, GPIO_PIN_SET);
    	  	  	  HAL_GPIO_WritePin(GPIOB, GPIO_PIN_8, GPIO_PIN_SET);
    	  	  	  HAL_GPIO_WritePin(GPIOC, GPIO_PIN_0, GPIO_PIN_SET);
    	  	  	  HAL_GPIO_WritePin(GPIOA, GPIO_PIN_1, GPIO_PIN_SET);
    	  	  	  HAL_GPIO_WritePin(GPIOA, GPIO_PIN_7, GPIO_PIN_SET);
    	  	  	  HAL_GPIO_WritePin(GPIOC, GPIO_PIN_12, GPIO_PIN_RESET);
    	  	  	  HAL_GPIO_WritePin(GPIOB, GPIO_PIN_5, GPIO_PIN_RESET);
    	  	  	  HAL_GPIO_WritePin(GPIOB, GPIO_PIN_9, GPIO_PIN_RESET);
    	  	  	  HAL_GPIO_WritePin(GPIOC, GPIO_PIN_1, GPIO_PIN_RESET);
    	  	  	  HAL_GPIO_WritePin(GPIOA, GPIO_PIN_0, GPIO_PIN_RESET);
    	  	  	  HAL_GPIO_WritePin(GPIOA, GPIO_PIN_6, GPIO_PIN_RESET);
    			  HAL_UART_Transmit(&huart6,&LCD_Instcode,1,1000);
    			  HAL_UART_Transmit(&huart6,&LCD_2ndrow,1,1000);
    			  HAL_UART_Transmit(&huart6,LCD_Text2,sizeof(LCD_Text2),1000);
    			  HAL_UART_Transmit(&huart6,&LCD_Instcode,1,1000);
    			  HAL_UART_Transmit(&huart6,&LCD_3rdrow,1,1000);
    			  HAL_UART_Transmit(&huart6,LCD_Text3,sizeof(LCD_Text3),1000);
    	  	  }
    	  }
    	  keyCount = 0;
    }

    /* Wait for button to be released. */
    while(HAL_GPIO_ReadPin(GPIOB, GPIO_PIN_12) || HAL_GPIO_ReadPin(GPIOB, GPIO_PIN_13) || HAL_GPIO_ReadPin(GPIOB, GPIO_PIN_14) || HAL_GPIO_ReadPin(GPIOB, GPIO_PIN_15)) {}
    HAL_NVIC_EnableIRQ(EXTI15_10_IRQn);
}

/* Interrupt routine for Timer. */
void HAL_TIM_PeriodElapsedCallback(TIM_HandleTypeDef *htim) {

	if (htim->Instance == TIM10) {
		if (timeofday[5] < '9') {
			++timeofday[5];
		}
		else if (timeofday[4] < '5') {
			++timeofday[4];
			timeofday[5] = '0';
		}
		else if (timeofday[3] < '9') {
			++timeofday[3];
			timeofday[4] = '0';
		}
		else if (timeofday[2] < '5') {
			++timeofday[2];
			timeofday[3] = '0';
		}
		else if (timeofday[1] == '3' && timeofday[0] == '2') {
			timeofday[0] = '0';
			timeofday[1] = '0';
			timeofday[2] = '0';
			timeofday[3] = '0';
			timeofday[4] = '0';
			timeofday[5] = '0';
		}
		else if (timeofday[1] < '9') {
			++timeofday[1];
			timeofday[2] = '0';
		}
		else if (timeofday[0] < '2') {
			++timeofday[0];
			timeofday[1] = '0';
		}
		LCD_Text1[0] = timeofday[0];
		LCD_Text1[1] = timeofday[1];
		LCD_Text1[3] = timeofday[2];
		LCD_Text1[4] = timeofday[3];
		LCD_Text1[6] = timeofday[4];
		LCD_Text1[7] = timeofday[5];
		HAL_UART_Transmit(&huart6,&LCD_Instcode,1,1000);
		HAL_UART_Transmit(&huart6,&LCD_1strow,1,1000);
		HAL_UART_Transmit(&huart6,LCD_Text1,sizeof(LCD_Text1),1000);

		if (ALARM) {
			++delayCount;
		}
	}
}

/* USER CODE END 4 */

void Error_Handler(void)
{
  __disable_irq();
  while (1)
  {
  }
}

/************************ (C) COPYRIGHT STMicroelectronics *****END OF FILE****/
